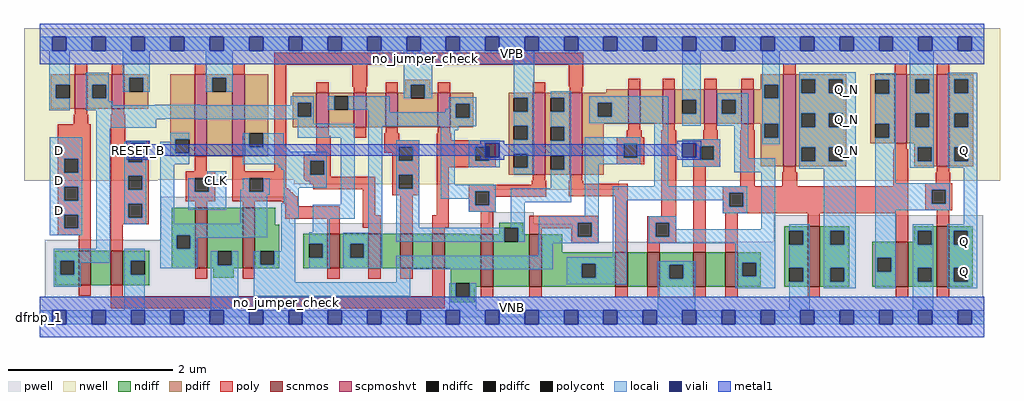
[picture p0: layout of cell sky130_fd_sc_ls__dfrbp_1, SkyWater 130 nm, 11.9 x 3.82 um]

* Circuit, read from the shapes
.subckt sky130_fd_sc_ls__dfrbp_1 CLK D RESET_B VGND VNB VPB VPWR Q Q_N
XM1 n1 D n2 VNB sky130_fd_pr__nfet_01v8 w=0.42 l=0.15
XM2 VGND RESET_B n1 VNB sky130_fd_pr__nfet_01v8 w=0.42 l=0.15
XM3 VGND CLK n3 VNB sky130_fd_pr__nfet_01v8 w=0.74 l=0.15
XM4 n4 n3 VGND VNB sky130_fd_pr__nfet_01v8 w=0.74 l=0.15
XM5 n5 n3 n2 VNB sky130_fd_pr__nfet_01v8 w=0.42 l=0.15
XM6 n6 n4 n5 VNB sky130_fd_pr__nfet_01v8 w=0.42 l=0.15
XM7 n7 n8 n6 VNB sky130_fd_pr__nfet_01v8 w=0.42 l=0.15
XM8 VGND RESET_B n7 VNB sky130_fd_pr__nfet_01v8 w=0.42 l=0.15
XM9 n8 n5 VGND VNB sky130_fd_pr__nfet_01v8 w=0.64 l=0.15
XM10 n9 n4 n8 VNB sky130_fd_pr__nfet_01v8 w=0.64 l=0.15
XM11 n10 n3 n9 VNB sky130_fd_pr__nfet_01v8 w=0.42 l=0.15
XM12 VGND n11 n10 VNB sky130_fd_pr__nfet_01v8 w=0.42 l=0.15
XM13 n12 RESET_B VGND VNB sky130_fd_pr__nfet_01v8 w=0.42 l=0.15
XM14 n11 n9 n12 VNB sky130_fd_pr__nfet_01v8 w=0.42 l=0.15
XM15 Q_N n9 VGND VNB sky130_fd_pr__nfet_01v8 w=0.74 l=0.15
XM16 VGND n9 n13 VNB sky130_fd_pr__nfet_01v8 w=0.55 l=0.15
XM17 Q n13 VGND VNB sky130_fd_pr__nfet_01v8 w=0.74 l=0.15
XM18 n2 D VPWR VPB sky130_fd_pr__pfet_01v8_hvt w=0.42 l=0.15
XM19 VPWR RESET_B n2 VPB sky130_fd_pr__pfet_01v8_hvt w=0.42 l=0.15
XM20 VPWR CLK n3 VPB sky130_fd_pr__pfet_01v8_hvt w=1 l=0.15
XM21 n4 n3 VPWR VPB sky130_fd_pr__pfet_01v8_hvt w=1 l=0.15
XM22 n5 n4 n2 VPB sky130_fd_pr__pfet_01v8_hvt w=0.42 l=0.15
XM23 n14 n3 n5 VPB sky130_fd_pr__pfet_01v8_hvt w=0.42 l=0.15
XM24 VPWR n8 n14 VPB sky130_fd_pr__pfet_01v8_hvt w=0.42 l=0.15
XM25 n5 RESET_B VPWR VPB sky130_fd_pr__pfet_01v8_hvt w=0.42 l=0.15
XM26 n8 n5 VPWR VPB sky130_fd_pr__pfet_01v8_hvt w=1 l=0.15
XM27 n9 n3 n8 VPB sky130_fd_pr__pfet_01v8_hvt w=1 l=0.15
XM28 n15 n4 n9 VPB sky130_fd_pr__pfet_01v8_hvt w=0.42 l=0.15
XM29 VPWR n11 n15 VPB sky130_fd_pr__pfet_01v8_hvt w=0.42 l=0.15
XM30 n11 RESET_B VPWR VPB sky130_fd_pr__pfet_01v8_hvt w=0.42 l=0.15
XM31 VPWR n9 n11 VPB sky130_fd_pr__pfet_01v8_hvt w=0.42 l=0.15
XM32 Q_N n9 VPWR VPB sky130_fd_pr__pfet_01v8_hvt w=1.12 l=0.15
XM33 VPWR n9 n13 VPB sky130_fd_pr__pfet_01v8_hvt w=0.84 l=0.15
XM34 Q n13 VPWR VPB sky130_fd_pr__pfet_01v8_hvt w=1.12 l=0.15
.ends

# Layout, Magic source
magic
tech sky130A
magscale 1 2
<< nwell >>
rect -38 335 2342 704
rect -38 332 288 335
rect 620 332 2342 335
rect 620 324 1412 332
rect 1108 311 1412 324
<< pwell >>
rect 296 251 601 293
rect 296 229 610 251
rect 1095 229 1205 256
rect 296 228 1205 229
rect 296 188 1300 228
rect 12 184 1300 188
rect 1790 184 2301 248
rect 12 49 2301 184
rect 0 0 2304 49
<< scnmos >>
rect 95 78 125 162
rect 173 78 203 162
rect 379 119 409 267
rect 495 119 525 267
rect 702 119 732 203
rect 802 119 832 203
rect 880 119 910 203
rect 958 119 988 203
rect 1076 74 1106 202
rect 1194 74 1224 202
rect 1404 74 1434 158
rect 1482 74 1512 158
rect 1594 74 1624 158
rect 1672 74 1702 158
rect 1873 74 1903 222
rect 2088 74 2118 184
rect 2188 74 2218 222
<< scpmoshvt >>
rect 86 508 116 592
rect 176 508 206 592
rect 378 392 408 592
rect 470 392 500 592
rect 675 463 705 547
rect 766 463 796 547
rect 844 463 874 547
rect 971 463 1001 547
rect 1203 347 1233 547
rect 1293 347 1323 547
rect 1435 471 1465 555
rect 1519 471 1549 555
rect 1621 471 1651 555
rect 1711 471 1741 555
rect 1814 368 1844 592
rect 2085 424 2115 592
rect 2188 368 2218 592
<< ndiff >>
rect 322 200 379 267
rect 322 166 334 200
rect 368 166 379 200
rect 38 137 95 162
rect 38 103 50 137
rect 84 103 95 137
rect 38 78 95 103
rect 125 78 173 162
rect 203 137 268 162
rect 203 103 222 137
rect 256 103 268 137
rect 322 119 379 166
rect 409 160 495 267
rect 409 126 434 160
rect 468 126 495 160
rect 409 119 495 126
rect 525 225 575 267
rect 525 161 584 225
rect 525 127 538 161
rect 572 127 584 161
rect 525 119 584 127
rect 643 179 702 203
rect 643 145 657 179
rect 691 145 702 179
rect 643 119 702 145
rect 732 179 802 203
rect 732 145 757 179
rect 791 145 802 179
rect 732 119 802 145
rect 832 119 880 203
rect 910 119 958 203
rect 988 202 1042 203
rect 1121 218 1179 230
rect 1121 202 1133 218
rect 988 119 1076 202
rect 203 78 268 103
rect 424 96 474 119
rect 1003 82 1076 119
rect 1003 48 1015 82
rect 1049 74 1076 82
rect 1106 184 1133 202
rect 1167 202 1179 218
rect 1167 184 1194 202
rect 1106 74 1194 184
rect 1224 158 1274 202
rect 1816 210 1873 222
rect 1816 176 1828 210
rect 1862 176 1873 210
rect 1224 130 1404 158
rect 1224 96 1322 130
rect 1356 96 1404 130
rect 1224 74 1404 96
rect 1434 74 1482 158
rect 1512 128 1594 158
rect 1512 94 1536 128
rect 1570 94 1594 128
rect 1512 74 1594 94
rect 1624 74 1672 158
rect 1702 133 1759 158
rect 1702 99 1713 133
rect 1747 99 1759 133
rect 1702 74 1759 99
rect 1816 120 1873 176
rect 1816 86 1828 120
rect 1862 86 1873 120
rect 1816 74 1873 86
rect 1903 210 1974 222
rect 1903 176 1928 210
rect 1962 176 1974 210
rect 2133 210 2188 222
rect 2133 184 2141 210
rect 1903 120 1974 176
rect 1903 86 1928 120
rect 1962 86 1974 120
rect 1903 74 1974 86
rect 2031 145 2088 184
rect 2031 111 2043 145
rect 2077 111 2088 145
rect 2031 74 2088 111
rect 2118 176 2141 184
rect 2175 176 2188 210
rect 2118 120 2188 176
rect 2118 86 2141 120
rect 2175 86 2188 120
rect 2118 74 2188 86
rect 2218 210 2275 222
rect 2218 176 2229 210
rect 2263 176 2275 210
rect 2218 120 2275 176
rect 2218 86 2229 120
rect 2263 86 2275 120
rect 2218 74 2275 86
rect 1049 48 1061 74
rect 1003 36 1061 48
<< pdiff >>
rect 27 567 86 592
rect 27 533 39 567
rect 73 533 86 567
rect 27 508 86 533
rect 116 567 176 592
rect 116 533 129 567
rect 163 533 176 567
rect 116 508 176 533
rect 206 584 265 592
rect 206 550 219 584
rect 253 550 265 584
rect 206 508 265 550
rect 319 434 378 592
rect 319 400 331 434
rect 365 400 378 434
rect 319 392 378 400
rect 408 584 470 592
rect 408 550 421 584
rect 455 550 470 584
rect 408 392 470 550
rect 500 448 557 592
rect 500 414 511 448
rect 545 414 557 448
rect 500 392 557 414
rect 892 567 953 579
rect 892 547 905 567
rect 617 522 675 547
rect 617 488 629 522
rect 663 488 675 522
rect 617 463 675 488
rect 705 539 766 547
rect 705 505 719 539
rect 753 505 766 539
rect 705 463 766 505
rect 796 463 844 547
rect 874 533 905 547
rect 939 547 953 567
rect 1759 567 1814 592
rect 1759 555 1767 567
rect 1382 547 1435 555
rect 939 533 971 547
rect 874 463 971 533
rect 1001 520 1057 547
rect 1001 486 1015 520
rect 1049 486 1057 520
rect 1001 463 1057 486
rect 1144 535 1203 547
rect 1144 501 1156 535
rect 1190 501 1203 535
rect 1144 466 1203 501
rect 1144 432 1156 466
rect 1190 432 1203 466
rect 1144 398 1203 432
rect 1144 364 1156 398
rect 1190 364 1203 398
rect 1144 347 1203 364
rect 1233 535 1293 547
rect 1233 501 1246 535
rect 1280 501 1293 535
rect 1233 464 1293 501
rect 1233 430 1246 464
rect 1280 430 1293 464
rect 1233 393 1293 430
rect 1233 359 1246 393
rect 1280 359 1293 393
rect 1233 347 1293 359
rect 1323 523 1435 547
rect 1323 489 1361 523
rect 1395 489 1435 523
rect 1323 471 1435 489
rect 1465 471 1519 555
rect 1549 530 1621 555
rect 1549 496 1567 530
rect 1601 496 1621 530
rect 1549 471 1621 496
rect 1651 530 1711 555
rect 1651 496 1664 530
rect 1698 496 1711 530
rect 1651 471 1711 496
rect 1741 533 1767 555
rect 1801 533 1814 567
rect 1741 471 1814 533
rect 1323 347 1376 471
rect 1759 437 1767 471
rect 1801 437 1814 471
rect 1759 368 1814 437
rect 1844 580 1967 592
rect 1844 546 1857 580
rect 1891 546 1925 580
rect 1959 546 1967 580
rect 1844 497 1967 546
rect 1844 463 1857 497
rect 1891 463 1925 497
rect 1959 463 1967 497
rect 1844 414 1967 463
rect 2026 579 2085 592
rect 2026 545 2038 579
rect 2072 545 2085 579
rect 2026 471 2085 545
rect 2026 437 2038 471
rect 2072 437 2085 471
rect 2026 424 2085 437
rect 2115 580 2188 592
rect 2115 546 2135 580
rect 2169 546 2188 580
rect 2115 497 2188 546
rect 2115 463 2135 497
rect 2169 463 2188 497
rect 2115 424 2188 463
rect 1844 380 1857 414
rect 1891 380 1925 414
rect 1959 380 1967 414
rect 2133 414 2188 424
rect 1844 368 1967 380
rect 2133 380 2141 414
rect 2175 380 2188 414
rect 2133 368 2188 380
rect 2218 580 2277 592
rect 2218 546 2231 580
rect 2265 546 2277 580
rect 2218 497 2277 546
rect 2218 463 2231 497
rect 2265 463 2277 497
rect 2218 414 2277 463
rect 2218 380 2231 414
rect 2265 380 2277 414
rect 2218 368 2277 380
<< ndiffc >>
rect 334 166 368 200
rect 50 103 84 137
rect 222 103 256 137
rect 434 126 468 160
rect 538 127 572 161
rect 657 145 691 179
rect 757 145 791 179
rect 1015 48 1049 82
rect 1133 184 1167 218
rect 1828 176 1862 210
rect 1322 96 1356 130
rect 1536 94 1570 128
rect 1713 99 1747 133
rect 1828 86 1862 120
rect 1928 176 1962 210
rect 1928 86 1962 120
rect 2043 111 2077 145
rect 2141 176 2175 210
rect 2141 86 2175 120
rect 2229 176 2263 210
rect 2229 86 2263 120
<< pdiffc >>
rect 39 533 73 567
rect 129 533 163 567
rect 219 550 253 584
rect 331 400 365 434
rect 421 550 455 584
rect 511 414 545 448
rect 629 488 663 522
rect 719 505 753 539
rect 905 533 939 567
rect 1015 486 1049 520
rect 1156 501 1190 535
rect 1156 432 1190 466
rect 1156 364 1190 398
rect 1246 501 1280 535
rect 1246 430 1280 464
rect 1246 359 1280 393
rect 1361 489 1395 523
rect 1567 496 1601 530
rect 1664 496 1698 530
rect 1767 533 1801 567
rect 1767 437 1801 471
rect 1857 546 1891 580
rect 1925 546 1959 580
rect 1857 463 1891 497
rect 1925 463 1959 497
rect 2038 545 2072 579
rect 2038 437 2072 471
rect 2135 546 2169 580
rect 2135 463 2169 497
rect 1857 380 1891 414
rect 1925 380 1959 414
rect 2141 380 2175 414
rect 2231 546 2265 580
rect 2231 463 2265 497
rect 2231 380 2265 414
<< poly >>
rect 86 592 116 618
rect 176 592 206 618
rect 378 592 408 618
rect 470 592 500 618
rect 572 615 1326 645
rect 86 493 116 508
rect 176 493 206 508
rect 83 470 119 493
rect 44 386 125 470
rect 44 352 60 386
rect 94 352 125 386
rect 44 318 125 352
rect 44 284 60 318
rect 94 284 125 318
rect 44 250 125 284
rect 44 216 60 250
rect 94 216 125 250
rect 44 200 125 216
rect 95 162 125 200
rect 173 428 209 493
rect 173 412 266 428
rect 173 378 216 412
rect 250 378 266 412
rect 173 344 266 378
rect 378 355 408 392
rect 470 355 500 392
rect 572 355 602 615
rect 675 547 705 573
rect 763 562 799 615
rect 766 547 796 562
rect 844 547 874 573
rect 971 547 1001 573
rect 1203 547 1233 573
rect 1290 562 1326 615
rect 1814 592 1844 618
rect 2085 592 2115 618
rect 2188 592 2218 618
rect 1293 547 1323 562
rect 1435 555 1465 581
rect 1519 555 1549 581
rect 1621 555 1651 581
rect 1711 555 1741 581
rect 675 442 705 463
rect 675 397 710 442
rect 766 437 796 463
rect 844 448 874 463
rect 971 448 1001 463
rect 841 431 877 448
rect 968 431 1004 448
rect 841 415 926 431
rect 841 401 876 415
rect 173 310 216 344
rect 250 310 266 344
rect 173 276 266 310
rect 357 339 428 355
rect 357 305 378 339
rect 412 305 428 339
rect 357 282 428 305
rect 470 339 602 355
rect 644 381 710 397
rect 644 347 660 381
rect 694 347 710 381
rect 644 342 710 347
rect 860 381 876 401
rect 910 381 926 415
rect 860 347 926 381
rect 644 339 818 342
rect 470 305 511 339
rect 545 314 602 339
rect 646 335 818 339
rect 648 333 818 335
rect 652 331 818 333
rect 659 324 818 331
rect 545 310 606 314
rect 667 312 818 324
rect 545 306 611 310
rect 545 305 613 306
rect 470 304 613 305
rect 470 302 617 304
rect 470 300 619 302
rect 470 297 621 300
rect 470 294 624 297
rect 470 282 629 294
rect 173 242 216 276
rect 250 242 266 276
rect 379 267 409 282
rect 495 267 525 282
rect 592 280 629 282
rect 595 278 629 280
rect 597 276 629 278
rect 599 270 629 276
rect 173 226 266 242
rect 173 162 203 226
rect 599 240 732 270
rect 702 203 732 240
rect 788 248 818 312
rect 860 313 876 347
rect 910 313 926 347
rect 860 297 926 313
rect 968 415 1112 431
rect 968 381 1062 415
rect 1096 381 1112 415
rect 968 365 1112 381
rect 788 218 832 248
rect 802 203 832 218
rect 880 203 910 297
rect 968 248 998 365
rect 1435 456 1465 471
rect 1519 456 1549 471
rect 1621 456 1651 471
rect 1711 456 1741 471
rect 1432 439 1468 456
rect 1408 423 1474 439
rect 1408 389 1424 423
rect 1458 389 1474 423
rect 1408 373 1474 389
rect 1203 332 1233 347
rect 1293 332 1323 347
rect 1200 323 1236 332
rect 1046 307 1236 323
rect 1046 273 1062 307
rect 1096 293 1236 307
rect 1290 325 1326 332
rect 1290 295 1434 325
rect 1096 273 1112 293
rect 1046 257 1112 273
rect 958 218 998 248
rect 958 203 988 218
rect 1076 202 1106 257
rect 1194 230 1362 247
rect 379 93 409 119
rect 495 93 525 119
rect 702 93 732 119
rect 802 93 832 119
rect 880 93 910 119
rect 95 52 125 78
rect 173 51 203 78
rect 958 51 988 119
rect 173 21 988 51
rect 1194 217 1312 230
rect 1194 202 1224 217
rect 1296 196 1312 217
rect 1346 196 1362 230
rect 1296 180 1362 196
rect 1404 158 1434 295
rect 1516 246 1552 456
rect 1618 433 1654 456
rect 1482 230 1552 246
rect 1482 196 1502 230
rect 1536 196 1552 230
rect 1482 180 1552 196
rect 1594 417 1660 433
rect 1594 383 1610 417
rect 1644 383 1660 417
rect 1594 367 1660 383
rect 1482 158 1512 180
rect 1594 158 1624 367
rect 1708 319 1744 456
rect 2085 409 2115 424
rect 1814 353 1844 368
rect 1811 319 1847 353
rect 2082 319 2118 409
rect 2188 353 2218 368
rect 2185 326 2221 353
rect 1666 303 2118 319
rect 1666 269 1682 303
rect 1716 269 2118 303
rect 1666 253 2118 269
rect 2160 310 2226 326
rect 2160 276 2176 310
rect 2210 276 2226 310
rect 2160 260 2226 276
rect 1672 158 1702 253
rect 1873 222 1903 253
rect 2088 184 2118 253
rect 2188 222 2218 260
rect 1076 48 1106 74
rect 1194 48 1224 74
rect 1404 48 1434 74
rect 1482 48 1512 74
rect 1594 48 1624 74
rect 1672 48 1702 74
rect 1873 48 1903 74
rect 2088 48 2118 74
rect 2188 48 2218 74
<< polycont >>
rect 60 352 94 386
rect 60 284 94 318
rect 60 216 94 250
rect 216 378 250 412
rect 216 310 250 344
rect 378 305 412 339
rect 660 347 694 381
rect 876 381 910 415
rect 511 305 545 339
rect 216 242 250 276
rect 876 313 910 347
rect 1062 381 1096 415
rect 1424 389 1458 423
rect 1062 273 1096 307
rect 1312 196 1346 230
rect 1502 196 1536 230
rect 1610 383 1644 417
rect 1682 269 1716 303
rect 2176 276 2210 310
<< locali >>
rect 0 649 31 683
rect 65 649 127 683
rect 161 649 223 683
rect 257 649 319 683
rect 353 649 415 683
rect 449 649 511 683
rect 545 649 607 683
rect 641 649 703 683
rect 737 649 799 683
rect 833 649 895 683
rect 929 649 991 683
rect 1025 649 1087 683
rect 1121 649 1183 683
rect 1217 649 1279 683
rect 1313 649 1375 683
rect 1409 649 1471 683
rect 1505 649 1567 683
rect 1601 649 1663 683
rect 1697 649 1759 683
rect 1793 649 1855 683
rect 1889 649 1951 683
rect 1985 649 2047 683
rect 2081 649 2143 683
rect 2177 649 2239 683
rect 2273 649 2304 683
rect 23 567 73 649
rect 23 533 39 567
rect 23 504 73 533
rect 113 567 169 596
rect 113 533 129 567
rect 163 533 169 567
rect 203 584 269 649
rect 203 550 219 584
rect 253 550 269 584
rect 405 584 471 649
rect 405 550 421 584
rect 455 550 471 584
rect 888 567 957 649
rect 113 526 169 533
rect 113 516 178 526
rect 613 522 669 538
rect 281 516 393 518
rect 613 516 629 522
rect 113 504 629 516
rect 138 488 629 504
rect 663 488 669 522
rect 703 505 719 539
rect 753 505 854 539
rect 888 533 905 567
rect 939 533 957 567
rect 998 520 1065 536
rect 998 508 1015 520
rect 138 484 669 488
rect 138 482 306 484
rect 378 482 669 484
rect 138 462 285 482
rect 629 471 669 482
rect 802 499 854 505
rect 989 499 1015 508
rect 802 486 1015 499
rect 1049 486 1065 520
rect 25 386 104 439
rect 25 352 60 386
rect 94 352 104 386
rect 25 318 104 352
rect 25 284 60 318
rect 94 284 104 318
rect 25 250 104 284
rect 25 216 60 250
rect 94 216 104 250
rect 25 200 104 216
rect 138 166 172 462
rect 319 434 365 450
rect 319 428 331 434
rect 206 424 260 428
rect 206 412 223 424
rect 206 378 216 412
rect 257 390 260 424
rect 250 378 260 390
rect 206 344 260 378
rect 206 310 216 344
rect 250 310 260 344
rect 206 276 260 310
rect 206 242 216 276
rect 250 242 260 276
rect 206 226 260 242
rect 294 400 331 428
rect 294 373 365 400
rect 495 414 511 448
rect 545 416 595 448
rect 629 437 768 471
rect 545 414 600 416
rect 495 413 600 414
rect 495 412 604 413
rect 495 408 605 412
rect 495 403 610 408
rect 495 381 700 403
rect 495 373 660 381
rect 294 228 328 373
rect 583 365 660 373
rect 589 359 660 365
rect 409 339 455 356
rect 595 347 660 359
rect 694 347 700 381
rect 362 305 378 339
rect 412 305 455 339
rect 495 310 511 339
rect 362 262 455 305
rect 489 305 511 310
rect 545 305 561 339
rect 489 298 561 305
rect 595 315 700 347
rect 489 228 555 298
rect 595 278 632 315
rect 294 200 555 228
rect 294 166 334 200
rect 368 195 555 200
rect 589 241 632 278
rect 734 274 768 437
rect 368 194 512 195
rect 368 166 384 194
rect 34 137 172 166
rect 34 103 50 137
rect 84 132 172 137
rect 206 137 256 166
rect 84 103 100 132
rect 34 74 100 103
rect 206 103 222 137
rect 294 119 384 166
rect 589 161 623 241
rect 666 240 768 274
rect 802 465 1065 486
rect 1156 535 1206 649
rect 1190 501 1206 535
rect 1156 466 1206 501
rect 666 207 707 240
rect 418 126 434 160
rect 468 126 484 160
rect 206 17 256 103
rect 418 17 484 126
rect 522 127 538 161
rect 572 127 623 161
rect 522 85 623 127
rect 657 179 707 207
rect 802 206 836 465
rect 978 456 1021 465
rect 691 145 707 179
rect 657 119 707 145
rect 741 179 836 206
rect 870 415 926 431
rect 870 381 876 415
rect 910 381 926 415
rect 870 347 926 381
rect 870 313 876 347
rect 910 313 926 347
rect 870 218 926 313
rect 978 323 1012 456
rect 1190 432 1206 466
rect 1046 424 1122 431
rect 1046 415 1087 424
rect 1046 381 1062 415
rect 1121 390 1122 424
rect 1096 381 1122 390
rect 1046 365 1122 381
rect 1156 398 1206 432
rect 1190 364 1206 398
rect 1156 348 1206 364
rect 1246 535 1296 551
rect 1280 501 1296 535
rect 1246 464 1296 501
rect 1340 523 1533 539
rect 1340 489 1361 523
rect 1395 489 1533 523
rect 1340 473 1533 489
rect 1280 430 1296 464
rect 1246 393 1296 430
rect 1280 359 1296 393
rect 978 307 1112 323
rect 1246 314 1296 359
rect 978 289 1062 307
rect 1046 273 1062 289
rect 1096 273 1112 307
rect 1046 257 1112 273
rect 1149 280 1296 314
rect 1330 423 1465 439
rect 1330 389 1424 423
rect 1458 389 1465 423
rect 1330 373 1465 389
rect 1149 218 1183 280
rect 1330 246 1364 373
rect 1499 319 1533 473
rect 1567 530 1612 649
rect 1762 567 1805 649
rect 1601 496 1612 530
rect 1567 467 1612 496
rect 1652 530 1728 546
rect 1652 496 1664 530
rect 1698 496 1728 530
rect 1652 467 1728 496
rect 1567 424 1660 433
rect 1601 417 1660 424
rect 1601 390 1610 417
rect 1567 383 1610 390
rect 1644 383 1660 417
rect 1567 367 1660 383
rect 1694 387 1728 467
rect 1762 533 1767 567
rect 1801 533 1805 567
rect 1762 471 1805 533
rect 1762 437 1767 471
rect 1801 437 1805 471
rect 1762 421 1805 437
rect 1852 580 1990 597
rect 1852 546 1857 580
rect 1891 546 1925 580
rect 1959 546 1990 580
rect 1852 497 1990 546
rect 1852 463 1857 497
rect 1891 463 1925 497
rect 1959 463 1990 497
rect 1852 414 1990 463
rect 1694 353 1794 387
rect 1852 380 1857 414
rect 1891 380 1925 414
rect 1959 380 1990 414
rect 1852 362 1990 380
rect 870 184 1133 218
rect 1167 184 1183 218
rect 1217 230 1364 246
rect 1217 196 1312 230
rect 1346 196 1364 230
rect 741 145 757 179
rect 791 145 836 179
rect 1217 180 1364 196
rect 1398 303 1726 319
rect 1398 285 1682 303
rect 1217 150 1251 180
rect 741 119 836 145
rect 870 116 1251 150
rect 1398 146 1432 285
rect 1666 269 1682 285
rect 1716 269 1726 303
rect 1666 253 1726 269
rect 1486 230 1552 246
rect 1486 196 1502 230
rect 1536 214 1552 230
rect 1760 214 1794 353
rect 1536 196 1794 214
rect 1486 180 1794 196
rect 1285 130 1432 146
rect 870 85 904 116
rect 522 51 904 85
rect 1285 96 1322 130
rect 1356 96 1432 130
rect 999 48 1015 82
rect 1049 48 1065 82
rect 1285 80 1432 96
rect 1507 128 1599 136
rect 1507 94 1536 128
rect 1570 94 1599 128
rect 999 17 1065 48
rect 1507 17 1599 94
rect 1697 133 1794 180
rect 1697 99 1713 133
rect 1747 99 1794 133
rect 1697 70 1794 99
rect 1828 210 1878 226
rect 1862 176 1878 210
rect 1828 120 1878 176
rect 1862 86 1878 120
rect 1828 17 1878 86
rect 1912 210 1990 362
rect 1912 176 1928 210
rect 1962 176 1990 210
rect 1912 120 1990 176
rect 1912 86 1928 120
rect 1962 86 1990 120
rect 1912 70 1990 86
rect 2038 579 2088 595
rect 2072 545 2088 579
rect 2038 471 2088 545
rect 2072 437 2088 471
rect 2038 326 2088 437
rect 2122 580 2181 649
rect 2122 546 2135 580
rect 2169 546 2181 580
rect 2122 497 2181 546
rect 2122 463 2135 497
rect 2169 463 2181 497
rect 2122 414 2181 463
rect 2122 380 2141 414
rect 2175 380 2181 414
rect 2122 364 2181 380
rect 2215 580 2287 596
rect 2215 546 2231 580
rect 2265 546 2287 580
rect 2215 497 2287 546
rect 2215 463 2231 497
rect 2265 463 2287 497
rect 2215 414 2287 463
rect 2215 380 2231 414
rect 2265 380 2287 414
rect 2215 364 2287 380
rect 2038 310 2219 326
rect 2038 276 2176 310
rect 2210 276 2219 310
rect 2038 260 2219 276
rect 2038 145 2088 260
rect 2253 226 2287 364
rect 2038 111 2043 145
rect 2077 111 2088 145
rect 2038 70 2088 111
rect 2129 210 2179 226
rect 2129 176 2141 210
rect 2175 176 2179 210
rect 2129 120 2179 176
rect 2129 86 2141 120
rect 2175 86 2179 120
rect 2129 17 2179 86
rect 2213 210 2287 226
rect 2213 176 2229 210
rect 2263 176 2287 210
rect 2213 120 2287 176
rect 2213 86 2229 120
rect 2263 86 2287 120
rect 2213 70 2287 86
rect 0 -17 31 17
rect 65 -17 127 17
rect 161 -17 223 17
rect 257 -17 319 17
rect 353 -17 415 17
rect 449 -17 511 17
rect 545 -17 607 17
rect 641 -17 703 17
rect 737 -17 799 17
rect 833 -17 895 17
rect 929 -17 991 17
rect 1025 -17 1087 17
rect 1121 -17 1183 17
rect 1217 -17 1279 17
rect 1313 -17 1375 17
rect 1409 -17 1471 17
rect 1505 -17 1567 17
rect 1601 -17 1663 17
rect 1697 -17 1759 17
rect 1793 -17 1855 17
rect 1889 -17 1951 17
rect 1985 -17 2047 17
rect 2081 -17 2143 17
rect 2177 -17 2239 17
rect 2273 -17 2304 17
<< viali >>
rect 31 649 65 683
rect 127 649 161 683
rect 223 649 257 683
rect 319 649 353 683
rect 415 649 449 683
rect 511 649 545 683
rect 607 649 641 683
rect 703 649 737 683
rect 799 649 833 683
rect 895 649 929 683
rect 991 649 1025 683
rect 1087 649 1121 683
rect 1183 649 1217 683
rect 1279 649 1313 683
rect 1375 649 1409 683
rect 1471 649 1505 683
rect 1567 649 1601 683
rect 1663 649 1697 683
rect 1759 649 1793 683
rect 1855 649 1889 683
rect 1951 649 1985 683
rect 2047 649 2081 683
rect 2143 649 2177 683
rect 2239 649 2273 683
rect 223 412 257 424
rect 223 390 250 412
rect 250 390 257 412
rect 1087 415 1121 424
rect 1087 390 1096 415
rect 1096 390 1121 415
rect 1567 390 1601 424
rect 31 -17 65 17
rect 127 -17 161 17
rect 223 -17 257 17
rect 319 -17 353 17
rect 415 -17 449 17
rect 511 -17 545 17
rect 607 -17 641 17
rect 703 -17 737 17
rect 799 -17 833 17
rect 895 -17 929 17
rect 991 -17 1025 17
rect 1087 -17 1121 17
rect 1183 -17 1217 17
rect 1279 -17 1313 17
rect 1375 -17 1409 17
rect 1471 -17 1505 17
rect 1567 -17 1601 17
rect 1663 -17 1697 17
rect 1759 -17 1793 17
rect 1855 -17 1889 17
rect 1951 -17 1985 17
rect 2047 -17 2081 17
rect 2143 -17 2177 17
rect 2239 -17 2273 17
<< metal1 >>
rect 0 683 2304 715
rect 0 649 31 683
rect 65 649 127 683
rect 161 649 223 683
rect 257 649 319 683
rect 353 649 415 683
rect 449 649 511 683
rect 545 649 607 683
rect 641 649 703 683
rect 737 649 799 683
rect 833 649 895 683
rect 929 649 991 683
rect 1025 649 1087 683
rect 1121 649 1183 683
rect 1217 649 1279 683
rect 1313 649 1375 683
rect 1409 649 1471 683
rect 1505 649 1567 683
rect 1601 649 1663 683
rect 1697 649 1759 683
rect 1793 649 1855 683
rect 1889 649 1951 683
rect 1985 649 2047 683
rect 2081 649 2143 683
rect 2177 649 2239 683
rect 2273 649 2304 683
rect 0 617 2304 649
rect 211 424 269 430
rect 211 390 223 424
rect 257 421 269 424
rect 1075 424 1133 430
rect 1075 421 1087 424
rect 257 393 1087 421
rect 257 390 269 393
rect 211 384 269 390
rect 1075 390 1087 393
rect 1121 421 1133 424
rect 1555 424 1613 430
rect 1555 421 1567 424
rect 1121 393 1567 421
rect 1121 390 1133 393
rect 1075 384 1133 390
rect 1555 390 1567 393
rect 1601 390 1613 424
rect 1555 384 1613 390
rect 0 17 2304 49
rect 0 -17 31 17
rect 65 -17 127 17
rect 161 -17 223 17
rect 257 -17 319 17
rect 353 -17 415 17
rect 449 -17 511 17
rect 545 -17 607 17
rect 641 -17 703 17
rect 737 -17 799 17
rect 833 -17 895 17
rect 929 -17 991 17
rect 1025 -17 1087 17
rect 1121 -17 1183 17
rect 1217 -17 1279 17
rect 1313 -17 1375 17
rect 1409 -17 1471 17
rect 1505 -17 1567 17
rect 1601 -17 1663 17
rect 1697 -17 1759 17
rect 1793 -17 1855 17
rect 1889 -17 1951 17
rect 1985 -17 2047 17
rect 2081 -17 2143 17
rect 2177 -17 2239 17
rect 2273 -17 2304 17
rect 0 -49 2304 -17
<< labels >>
flabel comment s 602 36 602 36 0 FreeSans 300 0 0 0 no_jumper_check
flabel comment s 940 630 940 630 0 FreeSans 300 0 0 0 no_jumper_check
rlabel comment s 0 0 0 0 4 dfrbp_1
flabel pwell s 0 0 2304 49 0 FreeSans 200 0 0 0 VNB
port 5 nsew ground bidirectional
flabel nwell s 0 617 2304 666 0 FreeSans 200 0 0 0 VPB
port 6 nsew power bidirectional
flabel metal1 s 223 390 257 424 0 FreeSans 340 0 0 0 RESET_B
port 3 nsew signal input
flabel metal1 s 0 617 2304 666 0 FreeSans 340 0 0 0 VPWR
port 7 nsew power bidirectional abutment
flabel metal1 s 0 0 2304 49 0 FreeSans 340 0 0 0 VGND
port 4 nsew ground bidirectional abutment
flabel locali s 2239 94 2273 128 0 FreeSans 340 0 0 0 Q
port 8 nsew signal output
flabel locali s 2239 168 2273 202 0 FreeSans 340 0 0 0 Q
port 8 nsew signal output
flabel locali s 2239 390 2273 424 0 FreeSans 340 0 0 0 Q
port 8 nsew signal output
flabel locali s 415 316 449 350 0 FreeSans 340 0 0 0 CLK
port 1 nsew clock input
flabel locali s 31 242 65 276 0 FreeSans 340 0 0 0 D
port 2 nsew signal input
flabel locali s 31 316 65 350 0 FreeSans 340 0 0 0 D
port 2 nsew signal input
flabel locali s 31 390 65 424 0 FreeSans 340 0 0 0 D
port 2 nsew signal input
flabel locali s 1951 390 1985 424 0 FreeSans 340 0 0 0 Q_N
port 9 nsew signal output
flabel locali s 1951 464 1985 498 0 FreeSans 340 0 0 0 Q_N
port 9 nsew signal output
flabel locali s 1951 538 1985 572 0 FreeSans 340 0 0 0 Q_N
port 9 nsew signal output
<< properties >>
string LEFsite unit
string LEFclass CORE
string FIXED_BBOX 0 0 2304 666
string GDS_FILE $PDKPATH/libs.ref/sky130_fd_sc_ls/gds/sky130_fd_sc_ls.gds
string LEFsymmetry X Y R90
string GDS_END 3264270
string GDS_START 3245664
<< end >>
